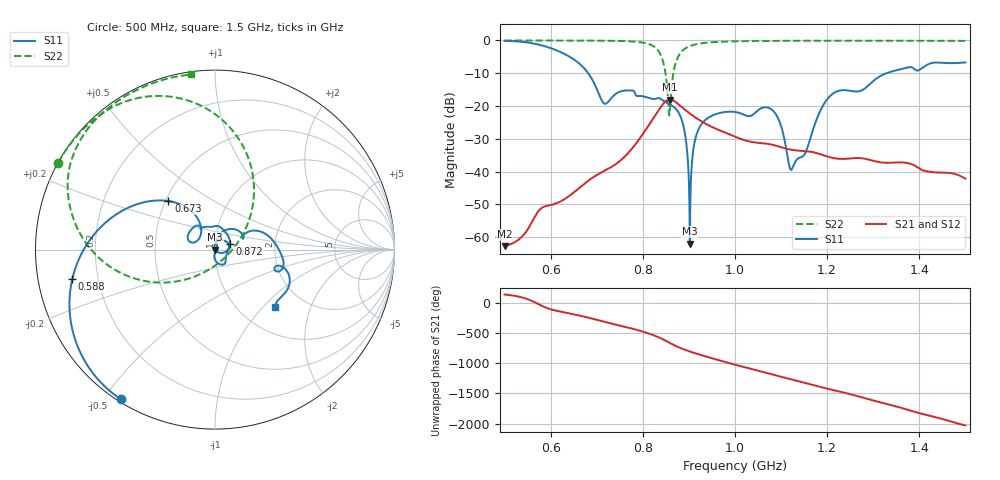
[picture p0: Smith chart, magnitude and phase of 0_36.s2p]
! TOUCHSTONE file generated by CST MICROWAVE STUDIO
! Date and time: Sat Oct 24 11:17:04 2020
! Project name: Scenario_1_Circular_Tissue_in_Line.cst
! Parameters = {L_HA=400; MT=2.54; Rad_Dielectric=30; Rad_Lower=7.3; Rad_Upper=30; a_HA=580; a_WG=246; b_HA=500; b_WG=121; c_HA=0; c_WG=187; d_feed=85; dx1=779.2; h_feed=15; h_lower=18; h_upper=40}
! Header version: 2018
! Port assignment regex: !\s*Touchstone port\s*([0-9]+)\s*=\s*(CST MWS port|CST DS port)\s*([0-9]+|Zmin|Zmax)\s*\(\"(.*)\"\)(\s*mode\s*([0-9]+))?.*
! Touchstone port assignment:
! Touchstone port 1 = CST MWS port 1 ("")
! Touchstone port 2 = CST MWS port 2 ("")
# GHz S DB R 50
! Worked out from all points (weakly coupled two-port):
!   1003 points, 500 MHz to 1.5 GHz, reference 50 ohm
!   highest |S21| = -18.04 dB at 859 MHz (marker M1); lowest = -62.8 dB at 500 MHz (marker M2)
!   lowest |S11| = -61.9 dB at 902 MHz (marker M3), VSWR 1.00, Z = 50.1 + j0.0391 ohm
!   |S11| at or under -10 dB: 681.5 MHz to 1.329 GHz (647.2 MHz wide, 64.4 % of centre)
!   |S22| runs from -22.8 to 0.0 dB; largest |S21 - S12| = 4e-05
!   S11 on the Smith chart (normalised r, x): 500 MHz: 0.01, -0.55; 588 MHz: 0.10, -0.10; 673 MHz: 0.52, +0.33; 872 MHz: 1.18, +0.08; 1.5 GHz: 1.44, -1.17
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0.5  -0.13 -122.3  -62.75 146.7  -62.75 146.7  -0.01 151.1
0.588  -1.80 -168.2  -50.61 -66.6  -50.58 -66.4  -0.02 145.0
0.667  -7.67 138.5  -44.42 149.6  -44.42 149.5  -0.04 138.3
0.673  -8.53 133.8  -43.73 138.6  -43.73 138.6  -0.04 137.8
0.717  -19.30 143.2  -39.75 51.2  -39.75 51.2  -0.09 132.7
0.791  -16.93 124.4  -30.34 -89.5  -30.34 -89.5  -0.49 116.5
0.834  -17.55 85.4  -21.31 156.0  -21.31 156.0  -3.26 83.2
0.848  -18.70 62.8  -18.78 104.4  -18.78 104.4  -9.07 52.4
0.859  -19.54 46.2  -18.04 58.7  -18.04 58.7  -20.76 -91.7
0.872  -20.95 21.2  -18.87 8.2  -18.87 8.2  -6.56 -159.7
0.89  -27.38 -26.3  -20.97 -48.5  -20.97 -48.5  -2.64 175.2
0.902  -61.94 29.2  -22.29 -81.2  -22.29 -81.2  -1.73 166.3
0.913  -30.53 92.5  -23.40 -109.0  -23.39 -109.0  -1.26 160.7
0.926  -25.81 71.7  -24.58 -140.0  -24.58 -140.0  -0.90 155.6
1  -21.83 11.0  -29.36 59.4  -29.36 59.4  -0.27 140.2
1.083  -21.50 -73.1  -31.88 -106.8  -31.88 -106.8  -0.14 131.2
1.1  -26.15 -92.7  -32.57 -141.6  -32.57 -141.6  -0.13 129.7
1.122  -39.48 -39.2  -33.34 176.3  -33.34 176.3  -0.11 127.8
1.167  -28.26 76.2  -34.02 86.6  -34.02 86.6  -0.10 124.2
1.211  -16.38 49.3  -35.81 0.3  -35.81 0.3  -0.09 120.8
1.334  -9.74 9.2  -37.32 117.8  -37.32 117.8  -0.08 111.4
1.5  -6.71 -43.8  -42.15 128.0  -42.16 127.7  -0.13 97.9
